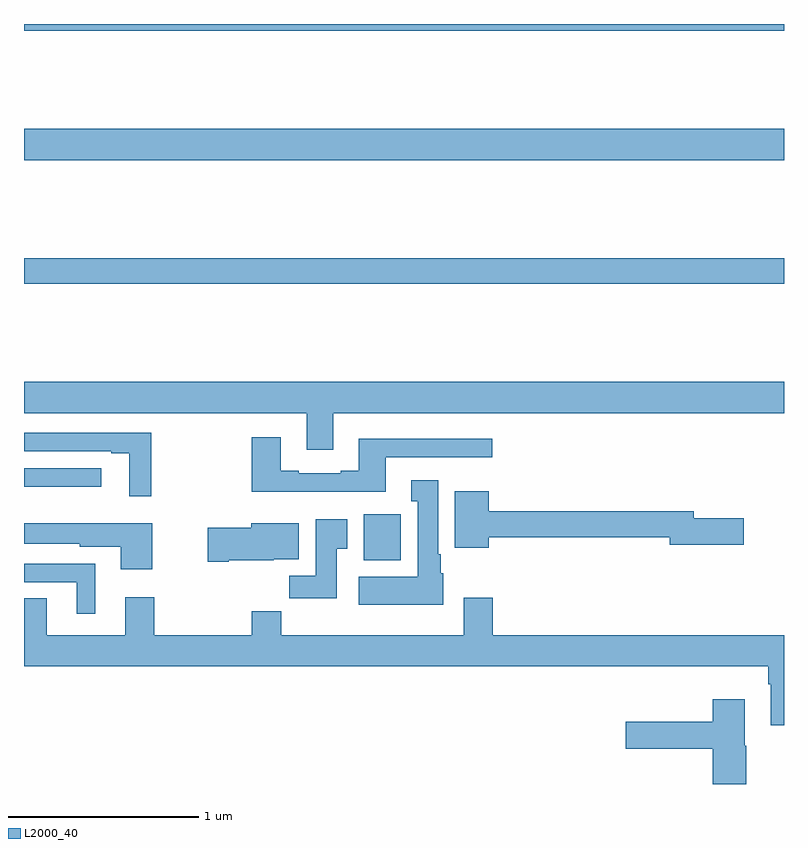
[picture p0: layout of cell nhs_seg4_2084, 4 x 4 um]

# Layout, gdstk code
import gdstk
lib = gdstk.Library(unit=1e-6, precision=1e-09)
def R(c, l, rs):  # rectangles x0, y0, x1, y1
    for r in rs: c.add(gdstk.rectangle(r[:2], r[2:], *l))
def P(c, l, *ps):  # polygons
    for p in ps: c.add(gdstk.Polygon(p, *l))
L2000_40 = (2000, 40)

nhs_seg4_2084 = lib.new_cell('nhs_seg4_2084')
R(nhs_seg4_2084, L2000_40, [(220.787,764.078,220.984,764.32), (219,764.465,219.406,764.562), (219,765.532,223,765.668), (219,766.184,223,766.348), (219,766.864,223,766.9)])
P(nhs_seg4_2084, L2000_40, [(220.627,764.852),(223,764.852),(223,765.016),(219,765.016),(219,764.852),(220.487,764.852),(220.487,764.658),(220.627,764.658)],
  [(219.671,764.748),(219,764.748),(219,764.652),(219.458,764.652),(219.458,764.64),(219.554,764.64),(219.554,764.415),(219.671,764.415)],
  [(220.903,764.619),(221.464,764.619),(221.464,764.716),(220.763,764.716),(220.763,764.548),(220.667,764.548),(220.667,764.535),(220.447,764.535),(220.447,764.548),(220.351,764.548),(220.351,764.725),(220.199,764.725),(220.199,764.438),(220.903,764.438)],
  [(221.206,764.01),(221.194,764.01),(221.194,764.11),(221.179,764.11),(221.179,764.5),(221.039,764.5),(221.039,764.387),(221.072,764.387),(221.072,763.99),(220.763,763.99),(220.763,763.844),(221.206,763.844)],
  [(221.446,764.2),(222.398,764.2),(222.398,764.158),(222.787,764.158),(222.787,764.3),(222.526,764.3),(222.526,764.336),(221.446,764.336),(221.446,764.44),(221.267,764.44),(221.267,764.144),(221.446,764.144)],
  [(220.645,764.137),(220.702,764.137),(220.702,764.293),(220.535,764.293),(220.535,763.996),(220.396,763.996),(220.396,763.878),(220.645,763.878)],
  [(219.676,764.272),(219,764.272),(219,764.165),(219.294,764.165),(219.294,764.15),(219.509,764.15),(219.509,764.031),(219.676,764.031)],
  [(220.078,764.078),(220.314,764.078),(220.314,764.084),(220.447,764.084),(220.447,764.272),(220.196,764.272),(220.196,764.249),(219.966,764.249),(219.966,764.071),(220.078,764.071)],
  [(219.376,764.058),(219,764.058),(219,763.962),(219.278,763.962),(219.278,763.797),(219.376,763.797)],
  [(223,763.684),(221.468,763.684),(221.468,763.879),(221.315,763.879),(221.315,763.684),(220.355,763.684),(220.355,763.808),(220.199,763.808),(220.199,763.684),(219.686,763.684),(219.686,763.882),(219.533,763.882),(219.533,763.684),(219.121,763.684),(219.121,763.877),(219,763.877),(219,763.52),(222.917,763.52),(222.917,763.424),(222.929,763.424),(222.929,763.209),(223,763.209)],
  [(222.801,763.101),(222.793,763.101),(222.793,763.345),(222.626,763.345),(222.626,763.227),(222.168,763.227),(222.168,763.085),(222.626,763.085),(222.626,762.9),(222.801,762.9)])

lib.write_gds('nhs_seg4_2084.gds')
